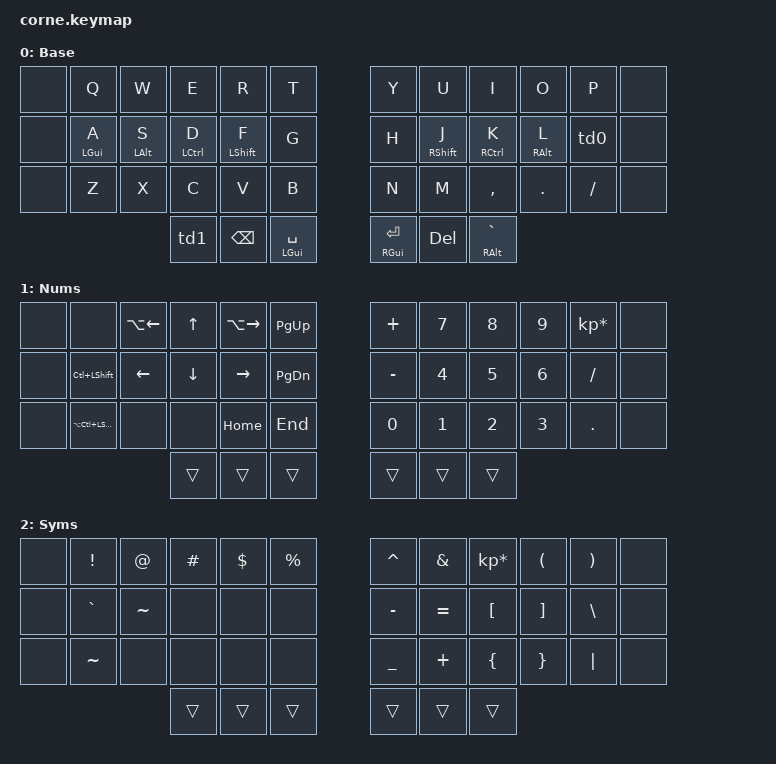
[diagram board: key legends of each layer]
/*
 * Copyright (c) 2020 The ZMK Contributors
 *
 * SPDX-License-Identifier: MIT
 */

#include <behaviors.dtsi>
#include <dt-bindings/zmk/keys.h>
#include <dt-bindings/zmk/bt.h>

// MACROS
#define SUPER LC(LSHIFT)
#define SUPER2 LA(LC(LSHIFT))

&mt {
  tapping-term-ms = <200>;
  flavor = "tap-preferred";
};

/ {
  behaviors {
    hm: homerow_mods {
      compatible = "zmk,behavior-hold-tap";
      label = "HOMEROW_MODS";
      #binding-cells = <2>;
      tapping-term-ms = <200>;
      quick-tap-ms = <0>;
      flavor = "tap-preferred";
      bindings = <&kp>, <&kp>;
    };

    td0: tap_dance_0 {
      compatible = "zmk,behavior-tap-dance";
      label = "TAP_DANCE_0";
      #binding-cells = <0>;
      tapping-term-ms = <200>;
      bindings = <&hm RGUI SEMI>, <&kp SQT>;
    };

    td1: tap_dance_1 {
      compatible = "zmk,behavior-tap-dance";
      label = "TAP_DANCE_1";
      #binding-cells = <0>;
      tapping-term-ms = <200>;
      bindings = <&mt LCTRL TAB>, <&kp ESC>;
    };
  };

  combos {
    compatible = "zmk,combos";
    combo_cword {
      timeout-ms = <50>;
      key-positions = <16 19>;
      bindings = <&caps_word>;
    };

    combo_vimwq {
      timeout-ms = <50>;
      key-positions = <1 2>;
      bindings = <&vim_quit>;
    };
  };

  macros {
        vim_quit: vim_quit {
            label = "ZM_vim_quit";
            compatible = "zmk,behavior-macro";
            #binding-cells = <0>;
            bindings
                = <&macro_tap &kp ESC &kp COLON &kp W &kp Q>;
        };
    };






        keymap {
                compatible = "zmk,keymap";

                default_layer {
// -----------------------------------------------------------------------------------------
// |  none  |  Q  |  W  |  E  |  R  |  T  |   |  Y  |  U   |  I  |  O  |  P  | none   |
// | none   |  A  |  S  |  D  |  F  |  G  |   |  H  |  J   |  K  |  L  |  ;  |  none  |
// | none   |  Z  |  X  |  C  |  V  |  B  |   |  N  |  M   |  ,  |  .  |  /  |  none  |
//                    | GUI | LWR | SPC |   | ENT | RSE  | ALT |
                        label = "Base";
                        bindings = <
   &none   /**/  &kp Q           &kp W       &kp E       &kp R           &kp T   /**/  &kp Y    &kp U           &kp I       &kp O       &kp P          /**/  &none
&none   /**/  &hm LGUI A      &hm LALT S  &hm LCTRL D &hm LSHIFT F    &kp G   /**/  &kp H    &hm RSHIFT J    &hm RCTRL K &hm RALT L  &td0           /**/  &none
&none   /**/  &kp Z           &kp X       &kp C       &kp V           &kp B   /**/  &kp N    &kp M           &kp COMMA   &kp DOT     &kp FSLH       /**/  &none
              &td1  &kp BSPC &mt LGUI SPACE  /**/  &mt RGUI RET &kp DEL &mt RALT GRAVE
                        >;
                };
                lower_layer {
// -----------------------------------------------------------------------------------------
// |  none  |  1  |  2  |  3  |  4  |  5  |   |  6  |  7  |  8  |  9  |  0  | &none |
// | none   | BT1 | BT2 | BT3 | BT4 | BT5 |   | LFT | DWN |  UP | RGT |     | &none |
// | none   |     |     |     |     |     |   |     |     |     |     |     | &none |
//                    | GUI |     | SPC |   | ENT |     | ALT |
                        label = "Nums";
                        bindings = <
   &none   /**/  &none         &kp LA(LEFT)  &kp UP        &kp LA(RIGHT) &kp PG_UP  /**/  &kp PLUS   &kp N7  &kp N8  &kp N9  &kp KP_MULTIPLY  /**/  &none
&none   /**/  &kp SUPER     &kp LEFT      &kp DOWN      &kp RIGHT     &kp PG_DN  /**/  &kp MINUS  &kp N4  &kp N5  &kp N6  &kp SLASH        /**/  &none
&none   /**/  &kp SUPER2    &none         &none         &kp HOME      &kp END    /**/  &kp N0     &kp N1  &kp N2  &kp N3  &kp DOT          /**/  &none
              &trans  &trans  &trans  /**/  &trans  &trans  &trans
                        >;
                };

                raise_layer {
// -----------------------------------------------------------------------------------------
// | none  |  !  |  @  |  #  |  $  |  %  |   |  ^  |  &  |  *  |  (  |  )  | none |
// | none  |     |     |     |     |     |   |  -  |  =  |  [  |  ]  |  \  | none |
// | none  |     |     |     |     |     |   |  _  |  +  |  {  |  }  | "|" | none |
//                    | GUI |     | SPC |   | ENT |     | ALT |
                        label = "Syms";
                        bindings = <
   &none   /**/  &kp EXCL    &kp AT         &kp HASH     &kp DLLR    &kp PRCNT   /**/  &kp CARET &kp AMPS  &kp KP_MULTIPLY &kp LPAR &kp RPAR  /**/  &none
&none   /**/  &kp GRAVE   &kp TILDE      &none        &none       &none  /**/  &kp MINUS &kp EQUAL &kp LBKT        &kp RBKT &kp BSLH  /**/  &none
&none   /**/  &kp TILDE   &none          &none        &none       &none       /**/  &kp UNDER &kp PLUS  &kp LBRC        &kp RBRC &kp PIPE  /**/  &none
              &trans &trans &trans  /**/  &trans &trans &trans
                        >;
                };
        };
};
